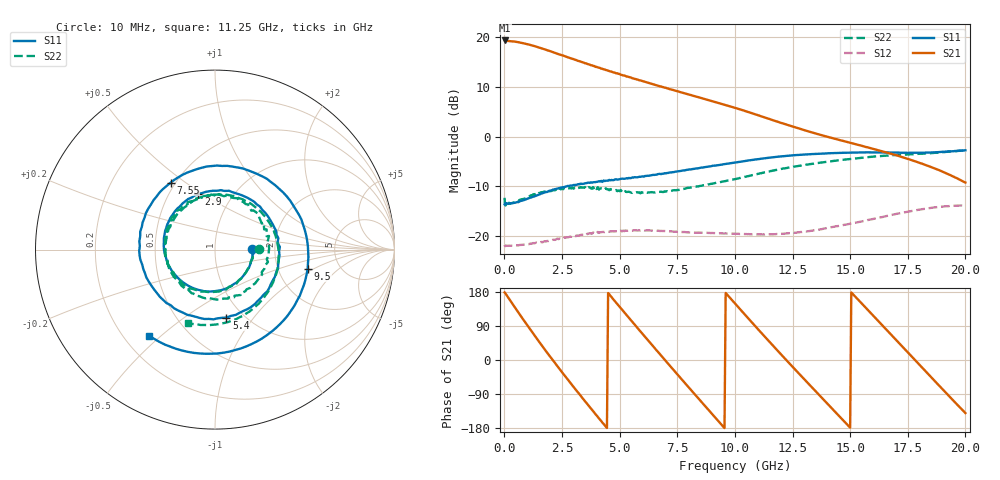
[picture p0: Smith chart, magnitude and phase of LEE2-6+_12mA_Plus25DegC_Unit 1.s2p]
!Mini-Circuits Laboratory
!S-Parameters
!Model: LEE2-6+
!Run / Lot / Date Code: N/A / N/A / N/A
!Fixture: TB-621+ DC 1602
!Network Analyzer: PNA-X N5242A - 423 4 ports;  Serial number: 71404
!Date: 4/12/2016 at 7:57:23 AM
!S/N: Unit# 1
!Tested with:
# Hz  S  dB  R  50
!Frequency  S11 dB  S11 Deg  S21 dB  S21 Deg  S12 dB  S12 Deg  S22 dB  S22 Deg
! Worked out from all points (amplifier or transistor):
!   408 points, 10 MHz to 20 GHz, reference 50 ohm
!   highest |S21| = 19.4 dB at 20 MHz (marker M1)
!   |S21| within 3 dB of that: start of sweep to 2.513 GHz
!   unconditionally stable (mu >= 1): start of sweep to 998.5 MHz; 5.433 GHz to end of sweep
!   at 3.05 GHz: K = 0.92, MSG = 17.7 dB, |S12| = -20.0 dB
!   at 9.85 GHz: K = 1.38, MAG = 9.1 dB, |S12| = -19.5 dB
!   at 20 GHz: K = 1.46, MAG = -1.7 dB, |S12| = -13.8 dB
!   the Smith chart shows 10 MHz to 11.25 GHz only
!   S11 on the Smith chart (normalised r, x): 10 MHz: 1.52, +0.01; 2.9 GHz: 0.70, +0.48; 5.4 GHz: 0.83, -0.74; 7.55 GHz: 0.47, +0.44; 9.5 GHz: 2.95, -0.86; 11.25 GHz: 0.30, -0.46
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1e7  -13.65 0.6  19.34 178.4  -21.79 0.2  -12.31 0.6
2e7  -13.60 -1.8  19.36 178.0  -21.97 -0.6  -13.40 -1.8
5.5e8  -13.18 -57.0  19.06 130.5  -21.87 -27.4  -13.01 -64.0
1.05e9  -12.41 -104.7  18.55 86.8  -21.64 -52.6  -12.10 -115.2
1.5e9  -11.67 -144.2  17.96 48.6  -21.30 -75.7  -11.33 -155.1
1.9e9  -11.01 -176.7  17.34 15.7  -21.02 -96.4  -11.07 172.2
2.35e9  -10.41 148.2  16.63 -20.3  -20.63 -120.7  -10.70 137.1
2.9e9  -9.84 106.7  15.75 -63.2  -20.16 -151.3  -10.45 96.0
3.35e9  -9.52 73.2  15.04 -97.6  -19.76 -177.2  -10.27 63.5
3.9e9  -9.16 31.7  14.22 -138.6  -19.44 151.3  -10.58 22.3
4.35e9  -8.94 -1.4  13.53 -172.2  -19.22 124.6  -10.65 -10.7
5.4e9  -8.31 -80.5  12.00 111.7  -18.93 62.5  -11.09 -87.3
6.7e9  -7.51 -175.5  10.21 18.8  -18.93 -13.8  -11.11 -178.5
7.55e9  -6.98 123.5  9.10 -40.9  -19.11 -62.0  -10.74 123.2
8.4e9  -6.37 64.1  7.96 -100.3  -19.31 -109.2  -10.04 67.3
9.5e9  -5.56 -11.5  6.49 -176.2  -19.49 -170.7  -9.00 -1.2
1.005e10  -5.18 -48.8  5.74 146.0  -19.55 159.4  -8.50 -35.7
1.125e10  -4.38 -127.3  3.93 64.8  -19.67 94.8  -7.26 -110.1
1.335e10  -3.51 103.8  0.84 -72.6  -18.93 -16.2  -5.46 123.5
1.49e10  -3.23 9.8  -1.11 -172.1  -17.63 -101.3  -4.54 29.1
1.67e10  -3.19 -102.9  -3.36 72.1  -15.86 155.6  -3.77 -83.4
2e10  -2.74 39.4  -9.23 -140.0  -13.85 -48.8  -2.74 56.7
